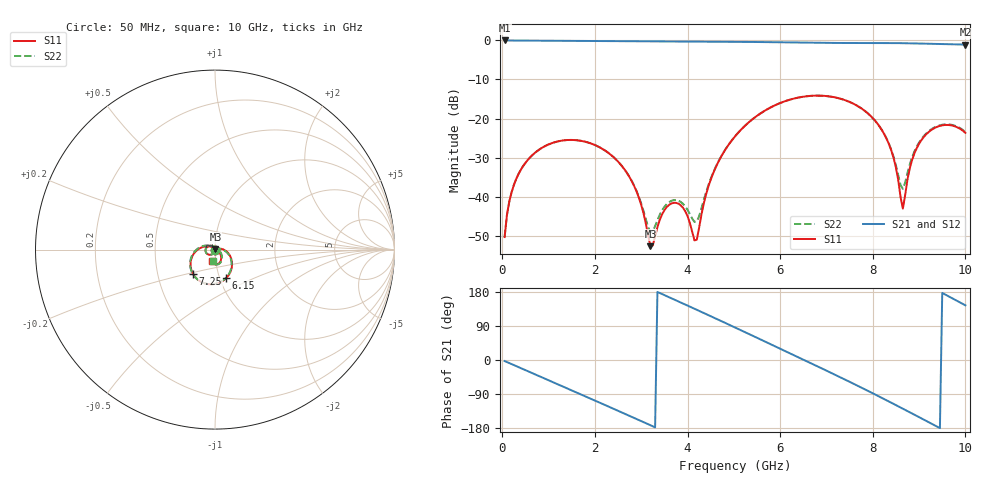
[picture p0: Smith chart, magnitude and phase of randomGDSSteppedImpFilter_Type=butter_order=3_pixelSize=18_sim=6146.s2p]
! freq	dB(S11)	phase(S11)	dB(S12)	phase(S12)
!  dB(S21)	phase(S21)	dB(S22)	phase(S22)
!S-par simulation data
#  GHz  S  DB  R 50
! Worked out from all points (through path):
!   200 points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, 50 MHz to 10 GHz, reference 50 ohm
!   highest |S21| = 0.00 dB at 50 MHz (marker M1); lowest = -1.1 dB at 10 GHz (marker M2)
!   group delay of S21, straight-line fit = 159 ps
!   lowest |S11| = -52.7 dB at 3.2 GHz (marker M3), VSWR 1.00, Z = 50.2 + j0.0983 ohm
!   |S11| at or under -10 dB: start of sweep to end of sweep
!   |S22| runs from -50.4 to -14.1 dB; largest |S21 - S12| = 0
!   S11 on the Smith chart (normalised r, x): 50 MHz: 1.00, -0.01; 6.15 GHz: 1.08, -0.35; 7.25 GHz: 0.76, -0.21; 10 GHz: 0.96, -0.12
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0.05  -50.37 -85.3  -0.00 -2.7  -0.00 -2.7  -50.36 -85.4
0.2  -38.91 -98.9  -0.02 -10.8  -0.02 -10.8  -38.91 -98.9
0.55  -30.61 -119.8  -0.04 -29.5  -0.04 -29.5  -30.61 -119.9
1.2  -25.85 -155.6  -0.09 -64.2  -0.09 -64.2  -25.85 -155.8
1.75  -25.83 174.3  -0.12 -93.6  -0.12 -93.6  -25.83 173.9
2.7  -34.10 119.0  -0.17 -144.9  -0.17 -144.9  -34.07 116.4
3  -42.12 92.8  -0.19 -161.3  -0.19 -161.3  -41.76 85.3
3.2  -52.70 25.0  -0.21 -172.2  -0.21 -172.2  -49.09 18.3
3.4  -45.96 -66.2  -0.22 176.8  -0.22 176.8  -44.66 -54.1
3.8  -41.79 -97.6  -0.25 154.7  -0.25 154.7  -41.02 -87.0
4.2  -51.03 -27.1  -0.28 132.5  -0.28 132.5  -46.36 -36.5
4.5  -35.68 16.7  -0.30 115.6  -0.30 115.6  -35.43 8.6
5.05  -24.22 -7.3  -0.35 84.4  -0.35 84.4  -24.21 -10.1
6.15  -15.39 -68.3  -0.52 21.2  -0.52 21.2  -15.39 -69.6
6.7  -14.16 -99.6  -0.61 -10.6  -0.61 -10.6  -14.17 -101.0
7.25  -14.76 -131.6  -0.65 -42.7  -0.65 -42.7  -14.77 -133.2
7.9  -18.75 -171.3  -0.64 -81.7  -0.64 -81.7  -18.75 -174.0
8.35  -26.58 156.5  -0.66 -109.6  -0.66 -109.6  -26.49 149.7
8.65  -43.07 52.4  -0.70 -128.5  -0.70 -128.5  -38.01 50.8
8.85  -30.58 -31.9  -0.75 -141.2  -0.75 -141.2  -29.89 -22.7
9.1  -24.75 -53.6  -0.82 -157.2  -0.82 -157.2  -24.50 -48.6
10  -23.67 -102.7  -1.06 144.2  -1.06 144.2  -23.46 -99.9
